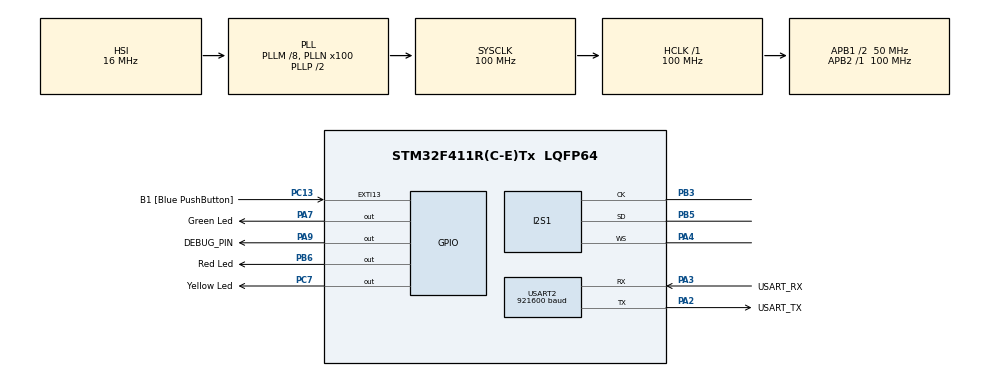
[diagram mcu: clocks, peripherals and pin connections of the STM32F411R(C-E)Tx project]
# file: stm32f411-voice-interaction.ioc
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Dma.Request0=SPI1_RX
Dma.SPI1_RX.0.Direction=DMA_PERIPH_TO_MEMORY
Dma.SPI1_RX.0.FIFOMode=DMA_FIFOMODE_DISABLE
Dma.SPI1_RX.0.Instance=DMA2_Stream0
Dma.SPI1_RX.0.MemDataAlignment=DMA_MDATAALIGN_HALFWORD
Dma.SPI1_RX.0.MemInc=DMA_MINC_ENABLE
Dma.SPI1_RX.0.Mode=DMA_CIRCULAR
Dma.SPI1_RX.0.PeriphDataAlignment=DMA_PDATAALIGN_HALFWORD
Dma.SPI1_RX.0.PeriphInc=DMA_PINC_DISABLE
Dma.SPI1_RX.0.Priority=DMA_PRIORITY_LOW
I2S1.AudioFreq=AudioFreqCustomValue
I2S1.AudioFreqCustom=64000
I2S1.CPOL=I2S_CPOL_HIGH
I2S1.ErrorAudioFreq=0.0 %
I2S1.FullDuplexMode=I2S_FULLDUPLEXMODE_DISABLE
I2S1.Instance=SPI$Index
I2S1.Mode=I2S_MODE_MASTER_RX
I2S1.RealAudioFreq=64.0 KHz
I2S1.Standard=I2S_STANDARD_MSB
I2S1.VirtualMode=I2S_MODE_MASTER
Mcu.Family=STM32F4
Mcu.Name=STM32F411R(C-E)Tx
Mcu.Package=LQFP64
NVIC.DMA2_Stream0_IRQn=true\:0\:0\:false\:false\:true\:false\:true\:true
NVIC.PriorityGroup=NVIC_PRIORITYGROUP_0
NVIC.USART2_IRQn=true\:0\:0\:false\:false\:true\:true\:true\:true
PA13.GPIO_Label=TMS
PA13.Mode=Serial_Wire
PA13.Signal=SYS_JTMS-SWDIO
PA14.GPIO_Label=TCK
PA14.Mode=Serial_Wire
PA14.Signal=SYS_JTCK-SWCLK
PA2.GPIO_Label=USART_TX
PA2.Mode=Asynchronous
PA2.Signal=USART2_TX
PA3.GPIO_Label=USART_RX
PA3.Mode=Asynchronous
PA3.Signal=USART2_RX
PA4.GPIO_Speed=GPIO_SPEED_FREQ_VERY_HIGH
PA4.Mode=Half_Duplex_Master
PA4.Signal=I2S1_WS
PA7.GPIO_Label=Green Led
PA7.PinState=GPIO_PIN_SET
PA7.Signal=GPIO_Output
PA9.GPIO_Label=DEBUG_PIN
PA9.Signal=GPIO_Output
PB3.GPIO_Speed=GPIO_SPEED_FREQ_VERY_HIGH
PB3.Mode=Half_Duplex_Master
PB3.Signal=I2S1_CK
PB5.GPIO_Speed=GPIO_SPEED_FREQ_VERY_HIGH
PB5.Mode=Half_Duplex_Master
PB5.Signal=I2S1_SD
PB6.GPIO_Label=Red Led
PB6.PinState=GPIO_PIN_SET
PB6.Signal=GPIO_Output
PC13-ANTI_TAMP.GPIO_Label=B1 [Blue PushButton]
PC13-ANTI_TAMP.GPIO_ModeDefaultEXTI=GPIO_MODE_IT_FALLING
PC13-ANTI_TAMP.Signal=GPXTI13
PC14-OSC32_IN.Mode=LSE-External-Oscillator
PC14-OSC32_IN.Signal=RCC_OSC32_IN
PC15-OSC32_OUT.Mode=LSE-External-Oscillator
PC15-OSC32_OUT.Signal=RCC_OSC32_OUT
PC7.GPIO_Label=Yellow Led
PC7.PinState=GPIO_PIN_SET
PC7.Signal=GPIO_Output
PDM2PCM.CHANNEL1_decimation_factor=PDM_FILTER_DEC_FACTOR_128
PDM2PCM.CHANNEL1_in_ptr_channels=1
PDM2PCM.CHANNEL1_mic_gain=24
PDM2PCM.CHANNEL1_out_ptr_channels=1
PDM2PCM.CHANNEL1_output_samples_number=480
PH0\ -\ OSC_IN.Mode=HSE-External-Clock-Source
PH0\ -\ OSC_IN.Signal=RCC_OSC_IN
PH1\ -\ OSC_OUT.Mode=HSE-External-Clock-Source
PH1\ -\ OSC_OUT.Signal=RCC_OSC_OUT
ProjectManager.HeapSize=0x200
ProjectManager.StackSize=0x400
ProjectManager.TargetToolchain=STM32CubeIDE
RCC.48MHZClocksFreq_Value=50000000
RCC.AHBFreq_Value=100000000
RCC.APB1CLKDivider=RCC_HCLK_DIV2
RCC.APB1Freq_Value=50000000
RCC.APB1TimFreq_Value=100000000
RCC.APB2Freq_Value=100000000
RCC.APB2TimFreq_Value=100000000
RCC.CortexFreq_Value=100000000
RCC.FLatency-AdvancedSettings=FLASH_LATENCY_3
RCC.HCLKFreq_Value=100000000
RCC.HSE_VALUE=8000000
RCC.HSI_VALUE=16000000
RCC.PLLI2SM=8
RCC.PLLI2SN=128
RCC.PLLI2SR=5
RCC.PLLM=8
RCC.PLLN=100
RCC.RCC_MCO2Source=RCC_MCO2SOURCE_PLLI2SCLK
RCC.RCC_MCODiv2=RCC_MCODIV_4
RCC.SYSCLKFreq_VALUE=100000000
RCC.SYSCLKSource=RCC_SYSCLKSOURCE_PLLCLK
RCC.VCOOutputFreq_Value=200000000
USART2.BaudRate=921600
USART2.VirtualMode=VM_ASYNC
VP_CRC_VS_CRC.Mode=CRC_Activate
VP_PDM2PCM_VS_PDM2PCM.Mode=PDM2PCM_Channel
board=NUCLEO-F411RE

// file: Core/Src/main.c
/* USER CODE BEGIN Header */
/**
  ******************************************************************************
  * @file           : main.c
  * @brief          : Main program body
  ******************************************************************************
  * @attention
  *
  * Copyright (c) 2026 STMicroelectronics.
  * All rights reserved.
  *
  * This software is licensed under terms that can be found in the LICENSE file
  * in the root directory of this software component.
  * If no LICENSE file comes with this software, it is provided AS-IS.
  *
  ******************************************************************************
  */
/* USER CODE END Header */
#include "main.h"
#include "pdm2pcm.h"

/* USER CODE BEGIN Includes */
#include <assert.h>
#include <stdio.h>
#include "tinykw.h"
#include "keywords_encodings.h"
#include "leds.h"

/* USER CODE END Includes */

/* USER CODE BEGIN PD */
#define DETECTION_THRESHOLD (128) // 0-255: higher means fewer false positives but more missed detections
#define PCM_BUFFER_SIZE (TKW_AUDIO_FRAME_SIZE) // TinyKW processes frames of 480 samples (30 ms at 16 kHz)
#define PDM_DECIMATION_FACTOR (128)
#define PDM_BUFFER_SIZE (PDM_DECIMATION_FACTOR * PCM_BUFFER_SIZE / 16) // PDM buffer is uint16
#define DMA_BUFFER_SIZE (2 * PDM_BUFFER_SIZE) // Twice the size of the PDM buffer
/* USER CODE END PD */

CRC_HandleTypeDef hcrc;

I2S_HandleTypeDef hi2s1;
DMA_HandleTypeDef hdma_spi1_rx;

UART_HandleTypeDef huart2;

/* USER CODE BEGIN PV */
uint8_t rxInProgress = 0;
uint16_t dma_buffer[DMA_BUFFER_SIZE];
volatile uint8_t new_data_ready = 0;
uint16_t* pdm_buffer;
int16_t pcm_buffer[PCM_BUFFER_SIZE];

static tkw_context tinykw_ctx;
static uint8_t keyword_ids[NB_KEYWORDS]; // ids returned by tkw_add_keyword(), in the order of keywords_encodings
static const char *keyword_names[NB_KEYWORDS] = {"yellow", "red", "green", "blink slow", "blink fast", "stop", "continuous"};
/* USER CODE END PV */

void SystemClock_Config(void);
static void MX_GPIO_Init(void);
static void MX_DMA_Init(void);
static void MX_I2S1_Init(void);
static void MX_USART2_UART_Init(void);
static void MX_CRC_Init(void);
/* USER CODE BEGIN PFP */
static void on_keyword_detected(uint8_t keyword_id, void *user_ctx);
void startReceiveDMA();
/* USER CODE END PFP */

int main(void)
{

  /* MCU Configuration--------------------------------------------------------*/

  /* Reset of all peripherals, Initializes the Flash interface and the Systick. */
  HAL_Init();

  /* Configure the system clock */
  SystemClock_Config();

  /* Initialize all configured peripherals */
  MX_GPIO_Init();
  MX_DMA_Init();
  MX_I2S1_Init();
  MX_USART2_UART_Init();
  MX_CRC_Init();
  MX_PDM2PCM_Init();
  /* USER CODE BEGIN 2 */
  /* Initialize TinyKW, register the detection callback and add the keywords */
  tkw_status status = tkw_init(&tinykw_ctx);
  assert(status == TKW_OK);
  status = tkw_set_callback(on_keyword_detected, NULL, &tinykw_ctx);
  assert(status == TKW_OK);
  for (int k = 0; k < NB_KEYWORDS; ++k)
  {
    status = tkw_add_keyword(keywords_encodings[k], DETECTION_THRESHOLD, &keyword_ids[k], &tinykw_ctx);
    assert(status == TKW_OK);
  }

  startReceiveDMA();
  /* USER CODE END 2 */

  /* Infinite loop */
  while (1)
  {

    /* USER CODE BEGIN 3 */
	if (new_data_ready == 1)
	{
		new_data_ready = 0;
		if (PDM_Filter(pdm_buffer, pcm_buffer, &PDM1_filter_handler) != 0) while(1);
		tkw_process_frame(pcm_buffer, PCM_BUFFER_SIZE, &tinykw_ctx); // calls on_keyword_detected() on detection
    if (new_data_ready == 1) while(1); // processing of the frame took too long
	}
  }
  /* USER CODE END 3 */
}

void SystemClock_Config(void)
{
  RCC_OscInitTypeDef RCC_OscInitStruct = {0};
  RCC_ClkInitTypeDef RCC_ClkInitStruct = {0};

  /** Configure the main internal regulator output voltage
  */
  __HAL_RCC_PWR_CLK_ENABLE();
  __HAL_PWR_VOLTAGESCALING_CONFIG(PWR_REGULATOR_VOLTAGE_SCALE1);

  /** Initializes the RCC Oscillators according to the specified parameters
  * in the RCC_OscInitTypeDef structure.
  */
  RCC_OscInitStruct.OscillatorType = RCC_OSCILLATORTYPE_HSI;
  RCC_OscInitStruct.HSIState = RCC_HSI_ON;
  RCC_OscInitStruct.HSICalibrationValue = RCC_HSICALIBRATION_DEFAULT;
  RCC_OscInitStruct.PLL.PLLState = RCC_PLL_ON;
  RCC_OscInitStruct.PLL.PLLSource = RCC_PLLSOURCE_HSI;
  RCC_OscInitStruct.PLL.PLLM = 8;
  RCC_OscInitStruct.PLL.PLLN = 100;
  RCC_OscInitStruct.PLL.PLLP = RCC_PLLP_DIV2;
  RCC_OscInitStruct.PLL.PLLQ = 4;
  if (HAL_RCC_OscConfig(&RCC_OscInitStruct) != HAL_OK)
  {
    Error_Handler();
  }

  /** Initializes the CPU, AHB and APB buses clocks
  */
  RCC_ClkInitStruct.ClockType = RCC_CLOCKTYPE_HCLK|RCC_CLOCKTYPE_SYSCLK
                              |RCC_CLOCKTYPE_PCLK1|RCC_CLOCKTYPE_PCLK2;
  RCC_ClkInitStruct.SYSCLKSource = RCC_SYSCLKSOURCE_PLLCLK;
  RCC_ClkInitStruct.AHBCLKDivider = RCC_SYSCLK_DIV1;
  RCC_ClkInitStruct.APB1CLKDivider = RCC_HCLK_DIV2;
  RCC_ClkInitStruct.APB2CLKDivider = RCC_HCLK_DIV1;

  if (HAL_RCC_ClockConfig(&RCC_ClkInitStruct, FLASH_LATENCY_3) != HAL_OK)
  {
    Error_Handler();
  }
}

static void MX_CRC_Init(void)
{

  hcrc.Instance = CRC;
  if (HAL_CRC_Init(&hcrc) != HAL_OK)
  {
    Error_Handler();
  }
  __HAL_CRC_DR_RESET(&hcrc);

}

static void MX_I2S1_Init(void)
{

  hi2s1.Instance = SPI1;
  hi2s1.Init.Mode = I2S_MODE_MASTER_RX;
  hi2s1.Init.Standard = I2S_STANDARD_MSB;
  hi2s1.Init.DataFormat = I2S_DATAFORMAT_16B;
  hi2s1.Init.MCLKOutput = I2S_MCLKOUTPUT_DISABLE;
  hi2s1.Init.AudioFreq = 64000;
  hi2s1.Init.CPOL = I2S_CPOL_HIGH;
  hi2s1.Init.ClockSource = I2S_CLOCK_PLL;
  hi2s1.Init.FullDuplexMode = I2S_FULLDUPLEXMODE_DISABLE;
  if (HAL_I2S_Init(&hi2s1) != HAL_OK)
  {
    Error_Handler();
  }

}

static void MX_USART2_UART_Init(void)
{

  huart2.Instance = USART2;
  huart2.Init.BaudRate = 921600;
  huart2.Init.WordLength = UART_WORDLENGTH_8B;
  huart2.Init.StopBits = UART_STOPBITS_1;
  huart2.Init.Parity = UART_PARITY_NONE;
  huart2.Init.Mode = UART_MODE_TX_RX;
  huart2.Init.HwFlowCtl = UART_HWCONTROL_NONE;
  huart2.Init.OverSampling = UART_OVERSAMPLING_16;
  if (HAL_UART_Init(&huart2) != HAL_OK)
  {
    Error_Handler();
  }

}

static void MX_DMA_Init(void)
{

  /* DMA controller clock enable */
  __HAL_RCC_DMA2_CLK_ENABLE();

  /* DMA interrupt init */
  /* DMA2_Stream0_IRQn interrupt configuration */
  HAL_NVIC_SetPriority(DMA2_Stream0_IRQn, 0, 0);
  HAL_NVIC_EnableIRQ(DMA2_Stream0_IRQn);

}

static void MX_GPIO_Init(void)
{
  GPIO_InitTypeDef GPIO_InitStruct = {0};

  /* GPIO Ports Clock Enable */
  __HAL_RCC_GPIOC_CLK_ENABLE();
  __HAL_RCC_GPIOH_CLK_ENABLE();
  __HAL_RCC_GPIOA_CLK_ENABLE();
  __HAL_RCC_GPIOB_CLK_ENABLE();

  /*Configure GPIO pin Output Level */
  HAL_GPIO_WritePin(Green_Led_GPIO_Port, Green_Led_Pin, GPIO_PIN_SET);

  /*Configure GPIO pin Output Level */
  HAL_GPIO_WritePin(Yellow_Led_GPIO_Port, Yellow_Led_Pin, GPIO_PIN_SET);

  /*Configure GPIO pin Output Level */
  HAL_GPIO_WritePin(DEBUG_PIN_GPIO_Port, DEBUG_PIN_Pin, GPIO_PIN_RESET);

  /*Configure GPIO pin Output Level */
  HAL_GPIO_WritePin(Red_Led_GPIO_Port, Red_Led_Pin, GPIO_PIN_SET);

  /*Configure GPIO pin : B1_Pin */
  GPIO_InitStruct.Pin = B1_Pin;
  GPIO_InitStruct.Mode = GPIO_MODE_IT_FALLING;
  GPIO_InitStruct.Pull = GPIO_NOPULL;
  HAL_GPIO_Init(B1_GPIO_Port, &GPIO_InitStruct);

  /*Configure GPIO pins : Green_Led_Pin DEBUG_PIN_Pin */
  GPIO_InitStruct.Pin = Green_Led_Pin|DEBUG_PIN_Pin;
  GPIO_InitStruct.Mode = GPIO_MODE_OUTPUT_PP;
  GPIO_InitStruct.Pull = GPIO_NOPULL;
  GPIO_InitStruct.Speed = GPIO_SPEED_FREQ_LOW;
  HAL_GPIO_Init(GPIOA, &GPIO_InitStruct);

  /*Configure GPIO pin : Yellow_Led_Pin */
  GPIO_InitStruct.Pin = Yellow_Led_Pin;
  GPIO_InitStruct.Mode = GPIO_MODE_OUTPUT_PP;
  GPIO_InitStruct.Pull = GPIO_NOPULL;
  GPIO_InitStruct.Speed = GPIO_SPEED_FREQ_LOW;
  HAL_GPIO_Init(Yellow_Led_GPIO_Port, &GPIO_InitStruct);

  /*Configure GPIO pin : Red_Led_Pin */
  GPIO_InitStruct.Pin = Red_Led_Pin;
  GPIO_InitStruct.Mode = GPIO_MODE_OUTPUT_PP;
  GPIO_InitStruct.Pull = GPIO_NOPULL;
  GPIO_InitStruct.Speed = GPIO_SPEED_FREQ_LOW;
  HAL_GPIO_Init(Red_Led_GPIO_Port, &GPIO_InitStruct);

}

/* USER CODE BEGIN 4 */

/*
 * Called by TinyKW from within tkw_process_frame() when a keyword is detected.
 * keyword_id is the id returned by tkw_add_keyword(): look up which keyword it is.
 */
static void on_keyword_detected(uint8_t keyword_id, void *user_ctx)
{
	(void)user_ctx;
	int k = 0;
	while (k < NB_KEYWORDS && keyword_ids[k] != keyword_id) k++;
	if (k == NB_KEYWORDS) return;

	printf("Keyword detected: %s\n", keyword_names[k]);
	switch(k)
	{
		case 0:
			YellowLED.On();
			RedLED.Off();
			GreenLED.Off();
			break;
		case 1:
			YellowLED.Off();
			RedLED.On();
			GreenLED.Off();
			break;
		case 2:
			YellowLED.Off();
			RedLED.Off();
			GreenLED.On();
			break;
		case 3:
			YellowLED.On();
			RedLED.On();
			GreenLED.Off();
			break;
		case 4:
			YellowLED.Off();
			RedLED.On();
			GreenLED.On();
			break;
		case 5:
			YellowLED.On();
			RedLED.Off();
			GreenLED.On();
			break;
		case 6:
			YellowLED.On();
			RedLED.On();
			GreenLED.On();
			break;
		default:
			YellowLED.Off();
			RedLED.Off();
			GreenLED.Off();
			break;
	}
}

void startReceiveDMA()
{
	rxInProgress = 1;
	HAL_I2S_Receive_DMA(&hi2s1, (uint16_t *)dma_buffer, DMA_BUFFER_SIZE);
}

void HAL_I2S_RxHalfCpltCallback(I2S_HandleTypeDef *hi2s)
{
  if ((hi2s->Instance == SPI1) && (rxInProgress == 1))
  {
    pdm_buffer = dma_buffer;
    new_data_ready = 1;
  }
}

void HAL_I2S_RxCpltCallback(I2S_HandleTypeDef *hi2s)
{
  if ((hi2s->Instance == SPI1) && (rxInProgress == 1))
  {
	pdm_buffer = &(dma_buffer[DMA_BUFFER_SIZE / 2]);
	new_data_ready = 1;
  }
}

// Replaces the TEIF0 (Transfer-Error) block
void HAL_I2S_ErrorCallback(I2S_HandleTypeDef *hi2s)
{
  if (hi2s->Instance == SPI1)
  {
    // Handle or log the DMA/I2S transfer error here if needed
  }
}

#ifdef __GNUC__
/* Retargeting for GCC / STM32CubeIDE */
int _write(int file, char *ptr, int len)
{
  // Transmit the string over USART2 using the blocking HAL function
  HAL_UART_Transmit(&huart2, (uint8_t *)ptr, len, HAL_MAX_DELAY);
  return len;
}
#endif

/* USER CODE END 4 */

void Error_Handler(void)
{
  __disable_irq();
  while (1)
  {
  }
}
